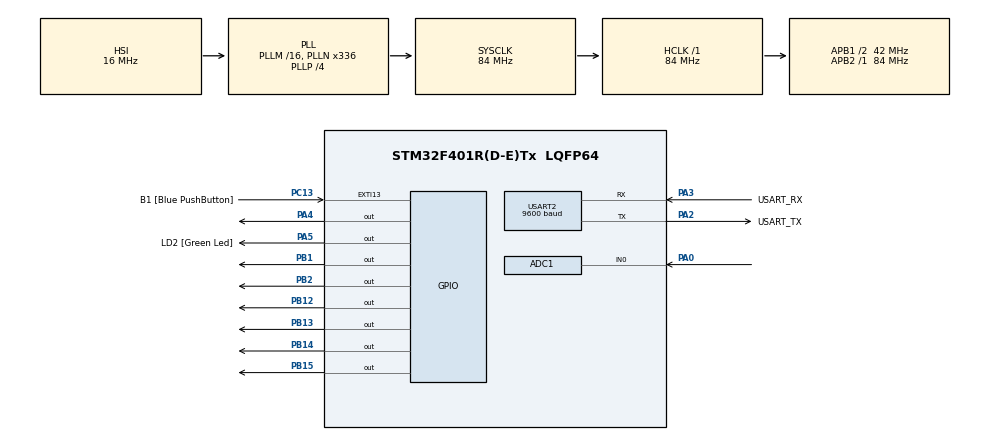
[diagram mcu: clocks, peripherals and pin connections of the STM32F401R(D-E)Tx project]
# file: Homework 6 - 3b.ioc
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ADC1.Channel-0\#ChannelRegularConversion=ADC_CHANNEL_0
ADC1.ContinuousConvMode=DISABLE
ADC1.DMAContinuousRequests=ENABLE
ADC1.ExternalTrigConv=ADC_EXTERNALTRIGCONV_T2_TRGO
ADC1.NbrOfConversionFlag=1
ADC1.Rank-0\#ChannelRegularConversion=1
ADC1.SamplingTime-0\#ChannelRegularConversion=ADC_SAMPLETIME_480CYCLES
ADC1.master=1
Dma.ADC1.0.Direction=DMA_PERIPH_TO_MEMORY
Dma.ADC1.0.FIFOMode=DMA_FIFOMODE_DISABLE
Dma.ADC1.0.Instance=DMA2_Stream0
Dma.ADC1.0.MemDataAlignment=DMA_MDATAALIGN_HALFWORD
Dma.ADC1.0.MemInc=DMA_MINC_ENABLE
Dma.ADC1.0.Mode=DMA_CIRCULAR
Dma.ADC1.0.PeriphDataAlignment=DMA_PDATAALIGN_HALFWORD
Dma.ADC1.0.PeriphInc=DMA_PINC_DISABLE
Dma.ADC1.0.Priority=DMA_PRIORITY_LOW
Dma.Request0=ADC1
Dma.Request1=USART2_TX
Dma.USART2_TX.1.Direction=DMA_MEMORY_TO_PERIPH
Dma.USART2_TX.1.FIFOMode=DMA_FIFOMODE_DISABLE
Dma.USART2_TX.1.Instance=DMA1_Stream6
Dma.USART2_TX.1.MemDataAlignment=DMA_MDATAALIGN_BYTE
Dma.USART2_TX.1.MemInc=DMA_MINC_ENABLE
Dma.USART2_TX.1.Mode=DMA_NORMAL
Dma.USART2_TX.1.PeriphDataAlignment=DMA_PDATAALIGN_BYTE
Dma.USART2_TX.1.PeriphInc=DMA_PINC_DISABLE
Dma.USART2_TX.1.Priority=DMA_PRIORITY_LOW
Mcu.Family=STM32F4
Mcu.Name=STM32F401R(D-E)Tx
Mcu.Package=LQFP64
NVIC.DMA1_Stream6_IRQn=true\:0\:0\:false\:false\:true\:false\:true\:true
NVIC.DMA2_Stream0_IRQn=true\:0\:0\:false\:false\:true\:false\:true\:true
NVIC.PriorityGroup=NVIC_PRIORITYGROUP_4
NVIC.USART2_IRQn=true\:0\:0\:false\:false\:true\:true\:true\:true
PA0-WKUP.Signal=ADCx_IN0
PA13.GPIO_Label=TMS
PA13.Mode=Trace_Asynchronous_SW
PA13.Signal=SYS_JTMS-SWDIO
PA14.GPIO_Label=TCK
PA14.Mode=Trace_Asynchronous_SW
PA14.Signal=SYS_JTCK-SWCLK
PA2.GPIO_Label=USART_TX
PA2.GPIO_Mode=GPIO_MODE_AF_PP
PA2.GPIO_PuPd=GPIO_NOPULL
PA2.GPIO_Speed=GPIO_SPEED_FREQ_LOW
PA2.Mode=Asynchronous
PA2.Signal=USART2_TX
PA3.GPIO_Label=USART_RX
PA3.GPIO_Mode=GPIO_MODE_AF_PP
PA3.GPIO_PuPd=GPIO_NOPULL
PA3.GPIO_Speed=GPIO_SPEED_FREQ_LOW
PA3.Mode=Asynchronous
PA3.Signal=USART2_RX
PA4.Signal=GPIO_Output
PA5.GPIO_Label=LD2 [Green Led]
PA5.GPIO_Mode=GPIO_MODE_OUTPUT_PP
PA5.GPIO_PuPd=GPIO_NOPULL
PA5.GPIO_Speed=GPIO_SPEED_FREQ_LOW
PA5.Signal=GPIO_Output
PB1.Signal=GPIO_Output
PB12.Signal=GPIO_Output
PB13.Signal=GPIO_Output
PB14.Signal=GPIO_Output
PB15.Signal=GPIO_Output
PB2.Signal=GPIO_Output
PB3.GPIO_Label=SWO
PB3.Mode=Trace_Asynchronous_SW
PB3.Signal=SYS_JTDO-SWO
PC13-ANTI_TAMP.GPIO_Label=B1 [Blue PushButton]
PC13-ANTI_TAMP.GPIO_ModeDefaultEXTI=GPIO_MODE_IT_FALLING
PC13-ANTI_TAMP.GPIO_PuPd=GPIO_NOPULL
PC13-ANTI_TAMP.Signal=GPXTI13
PC14-OSC32_IN.Mode=LSE-External-Oscillator
PC14-OSC32_IN.Signal=RCC_OSC32_IN
PC15-OSC32_OUT.Mode=LSE-External-Oscillator
PC15-OSC32_OUT.Signal=RCC_OSC32_OUT
PH0\ -\ OSC_IN.Mode=HSE-External-Clock-Source
PH0\ -\ OSC_IN.Signal=RCC_OSC_IN
PH1\ -\ OSC_OUT.Mode=HSE-External-Clock-Source
PH1\ -\ OSC_OUT.Signal=RCC_OSC_OUT
ProjectManager.HeapSize=0x200
ProjectManager.StackSize=0x400
ProjectManager.TargetToolchain=STM32CubeIDE
RCC.48MHZClocksFreq_Value=48000000
RCC.AHBFreq_Value=84000000
RCC.APB1CLKDivider=RCC_HCLK_DIV2
RCC.APB1Freq_Value=42000000
RCC.APB1TimFreq_Value=84000000
RCC.APB2Freq_Value=84000000
RCC.APB2TimFreq_Value=84000000
RCC.CortexFreq_Value=84000000
RCC.HCLKFreq_Value=84000000
RCC.HSE_VALUE=8000000
RCC.HSI_VALUE=16000000
RCC.PLLN=336
RCC.PLLP=RCC_PLLP_DIV4
RCC.PLLQ=7
RCC.SYSCLKFreq_VALUE=84000000
RCC.SYSCLKSource=RCC_SYSCLKSOURCE_PLLCLK
RCC.VCOOutputFreq_Value=336000000
SH.ADCx_IN0.0=ADC1_IN0,IN0
TIM2.Period=9
TIM2.Prescaler=8399
TIM2.TIM_MasterOutputTrigger=TIM_TRGO_UPDATE
USART2.BaudRate=9600
USART2.VirtualMode=VM_ASYNC
VP_TIM2_VS_ClockSourceINT.Mode=Internal
board=NUCLEO-F401RE

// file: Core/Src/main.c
/* USER CODE BEGIN Header */
/**
  ******************************************************************************
  * @file           : main.c
  * @brief          : Main program body
  ******************************************************************************
  * @attention
  *
  * Copyright (c) 2025 STMicroelectronics.
  * All rights reserved.
  *
  * This software is licensed under terms that can be found in the LICENSE file
  * in the root directory of this software component.
  * If no LICENSE file comes with this software, it is provided AS-IS.
  *
  ******************************************************************************
  */
/* USER CODE END Header */
#include "main.h"

/* USER CODE BEGIN Includes */
#include <math.h>
/* USER CODE END Includes */

/* USER CODE BEGIN PD */
#define SAMPLES 1000
/* USER CODE END PD */

ADC_HandleTypeDef hadc1;
DMA_HandleTypeDef hdma_adc1;

TIM_HandleTypeDef htim2;

UART_HandleTypeDef huart2;
DMA_HandleTypeDef hdma_usart2_tx;

/* USER CODE BEGIN PV */
uint16_t LDR_buffer[SAMPLES];
float average = 0;
int count = 0;
/* USER CODE END PV */

void SystemClock_Config(void);
static void MX_GPIO_Init(void);
static void MX_DMA_Init(void);
static void MX_USART2_UART_Init(void);
static void MX_ADC1_Init(void);
static void MX_TIM2_Init(void);

/* USER CODE BEGIN 0 */
void HAL_ADC_ConvHalfCpltCallback(ADC_HandleTypeDef* hadc) {
    for (int i = 0; i < SAMPLES / 2; i++) {
        float voltage = LDR_buffer[i] * (3.3 / 4095);
        float R_LDR = (voltage * 100)/ (3.3 - voltage);
        average += R_LDR;
        count++;
    }
}

void HAL_ADC_ConvCpltCallback(ADC_HandleTypeDef* hadc) {
    for (int i = SAMPLES / 2; i < SAMPLES; i++) {
        float voltage = LDR_buffer[i] * (3.3 / 4095);
        float R_LDR = (voltage * 100)/ (3.3 - voltage);
        average += R_LDR;
        count++;
    }

    if (count >= SAMPLES) {
        average = average / SAMPLES;
        float lux = 10 * pow((100/average), 1.25);
        static char string[50];
        snprintf(string, sizeof(string), "LDR: %.3f kOhm, %.3f lux \r\n", average, lux);
        HAL_UART_Transmit_DMA(&huart2, string, sizeof(string));
        average = 0;
        count = 0;
    }
}
/* USER CODE END 0 */

int main(void)
{

  /* MCU Configuration--------------------------------------------------------*/

  /* Reset of all peripherals, Initializes the Flash interface and the Systick. */
  HAL_Init();

  /* Configure the system clock */
  SystemClock_Config();

  /* Initialize all configured peripherals */
  MX_GPIO_Init();
  MX_DMA_Init();
  MX_USART2_UART_Init();
  MX_ADC1_Init();
  MX_TIM2_Init();
  /* USER CODE BEGIN 2 */
  HAL_TIM_Base_Start(&htim2);
  HAL_ADC_Start_DMA(&hadc1, &LDR_buffer, SAMPLES);
  /* USER CODE END 2 */

  /* Infinite loop */
  while (1)
  {

  }
}

void SystemClock_Config(void)
{
  RCC_OscInitTypeDef RCC_OscInitStruct = {0};
  RCC_ClkInitTypeDef RCC_ClkInitStruct = {0};

  /** Configure the main internal regulator output voltage
  */
  __HAL_RCC_PWR_CLK_ENABLE();
  __HAL_PWR_VOLTAGESCALING_CONFIG(PWR_REGULATOR_VOLTAGE_SCALE2);

  /** Initializes the RCC Oscillators according to the specified parameters
  * in the RCC_OscInitTypeDef structure.
  */
  RCC_OscInitStruct.OscillatorType = RCC_OSCILLATORTYPE_HSI;
  RCC_OscInitStruct.HSIState = RCC_HSI_ON;
  RCC_OscInitStruct.HSICalibrationValue = RCC_HSICALIBRATION_DEFAULT;
  RCC_OscInitStruct.PLL.PLLState = RCC_PLL_ON;
  RCC_OscInitStruct.PLL.PLLSource = RCC_PLLSOURCE_HSI;
  RCC_OscInitStruct.PLL.PLLM = 16;
  RCC_OscInitStruct.PLL.PLLN = 336;
  RCC_OscInitStruct.PLL.PLLP = RCC_PLLP_DIV4;
  RCC_OscInitStruct.PLL.PLLQ = 7;
  if (HAL_RCC_OscConfig(&RCC_OscInitStruct) != HAL_OK)
  {
    Error_Handler();
  }

  /** Initializes the CPU, AHB and APB buses clocks
  */
  RCC_ClkInitStruct.ClockType = RCC_CLOCKTYPE_HCLK|RCC_CLOCKTYPE_SYSCLK
                              |RCC_CLOCKTYPE_PCLK1|RCC_CLOCKTYPE_PCLK2;
  RCC_ClkInitStruct.SYSCLKSource = RCC_SYSCLKSOURCE_PLLCLK;
  RCC_ClkInitStruct.AHBCLKDivider = RCC_SYSCLK_DIV1;
  RCC_ClkInitStruct.APB1CLKDivider = RCC_HCLK_DIV2;
  RCC_ClkInitStruct.APB2CLKDivider = RCC_HCLK_DIV1;

  if (HAL_RCC_ClockConfig(&RCC_ClkInitStruct, FLASH_LATENCY_2) != HAL_OK)
  {
    Error_Handler();
  }
}

static void MX_ADC1_Init(void)
{

  ADC_ChannelConfTypeDef sConfig = {0};

  /** Configure the global features of the ADC (Clock, Resolution, Data Alignment and number of conversion)
  */
  hadc1.Instance = ADC1;
  hadc1.Init.ClockPrescaler = ADC_CLOCK_SYNC_PCLK_DIV4;
  hadc1.Init.Resolution = ADC_RESOLUTION_12B;
  hadc1.Init.ScanConvMode = DISABLE;
  hadc1.Init.ContinuousConvMode = DISABLE;
  hadc1.Init.DiscontinuousConvMode = DISABLE;
  hadc1.Init.ExternalTrigConvEdge = ADC_EXTERNALTRIGCONVEDGE_RISING;
  hadc1.Init.ExternalTrigConv = ADC_EXTERNALTRIGCONV_T2_TRGO;
  hadc1.Init.DataAlign = ADC_DATAALIGN_RIGHT;
  hadc1.Init.NbrOfConversion = 1;
  hadc1.Init.DMAContinuousRequests = ENABLE;
  hadc1.Init.EOCSelection = ADC_EOC_SINGLE_CONV;
  if (HAL_ADC_Init(&hadc1) != HAL_OK)
  {
    Error_Handler();
  }

  /** Configure for the selected ADC regular channel its corresponding rank in the sequencer and its sample time.
  */
  sConfig.Channel = ADC_CHANNEL_0;
  sConfig.Rank = 1;
  sConfig.SamplingTime = ADC_SAMPLETIME_480CYCLES;
  if (HAL_ADC_ConfigChannel(&hadc1, &sConfig) != HAL_OK)
  {
    Error_Handler();
  }

}

static void MX_TIM2_Init(void)
{

  TIM_ClockConfigTypeDef sClockSourceConfig = {0};
  TIM_MasterConfigTypeDef sMasterConfig = {0};

  htim2.Instance = TIM2;
  htim2.Init.Prescaler = 8399;
  htim2.Init.CounterMode = TIM_COUNTERMODE_UP;
  htim2.Init.Period = 9;
  htim2.Init.ClockDivision = TIM_CLOCKDIVISION_DIV1;
  htim2.Init.AutoReloadPreload = TIM_AUTORELOAD_PRELOAD_DISABLE;
  if (HAL_TIM_Base_Init(&htim2) != HAL_OK)
  {
    Error_Handler();
  }
  sClockSourceConfig.ClockSource = TIM_CLOCKSOURCE_INTERNAL;
  if (HAL_TIM_ConfigClockSource(&htim2, &sClockSourceConfig) != HAL_OK)
  {
    Error_Handler();
  }
  sMasterConfig.MasterOutputTrigger = TIM_TRGO_UPDATE;
  sMasterConfig.MasterSlaveMode = TIM_MASTERSLAVEMODE_DISABLE;
  if (HAL_TIMEx_MasterConfigSynchronization(&htim2, &sMasterConfig) != HAL_OK)
  {
    Error_Handler();
  }

}

static void MX_USART2_UART_Init(void)
{

  huart2.Instance = USART2;
  huart2.Init.BaudRate = 9600;
  huart2.Init.WordLength = UART_WORDLENGTH_8B;
  huart2.Init.StopBits = UART_STOPBITS_1;
  huart2.Init.Parity = UART_PARITY_NONE;
  huart2.Init.Mode = UART_MODE_TX_RX;
  huart2.Init.HwFlowCtl = UART_HWCONTROL_NONE;
  huart2.Init.OverSampling = UART_OVERSAMPLING_16;
  if (HAL_UART_Init(&huart2) != HAL_OK)
  {
    Error_Handler();
  }

}

static void MX_DMA_Init(void)
{

  /* DMA controller clock enable */
  __HAL_RCC_DMA2_CLK_ENABLE();
  __HAL_RCC_DMA1_CLK_ENABLE();

  /* DMA interrupt init */
  /* DMA1_Stream6_IRQn interrupt configuration */
  HAL_NVIC_SetPriority(DMA1_Stream6_IRQn, 0, 0);
  HAL_NVIC_EnableIRQ(DMA1_Stream6_IRQn);
  /* DMA2_Stream0_IRQn interrupt configuration */
  HAL_NVIC_SetPriority(DMA2_Stream0_IRQn, 0, 0);
  HAL_NVIC_EnableIRQ(DMA2_Stream0_IRQn);

}

static void MX_GPIO_Init(void)
{
  GPIO_InitTypeDef GPIO_InitStruct = {0};

  /* GPIO Ports Clock Enable */
  __HAL_RCC_GPIOC_CLK_ENABLE();
  __HAL_RCC_GPIOH_CLK_ENABLE();
  __HAL_RCC_GPIOA_CLK_ENABLE();
  __HAL_RCC_GPIOB_CLK_ENABLE();

  /*Configure GPIO pin Output Level */
  HAL_GPIO_WritePin(GPIOA, GPIO_PIN_4|LD2_Pin, GPIO_PIN_RESET);

  /*Configure GPIO pin Output Level */
  HAL_GPIO_WritePin(GPIOB, GPIO_PIN_1|GPIO_PIN_2|GPIO_PIN_12|GPIO_PIN_13
                          |GPIO_PIN_14|GPIO_PIN_15, GPIO_PIN_RESET);

  /*Configure GPIO pin : B1_Pin */
  GPIO_InitStruct.Pin = B1_Pin;
  GPIO_InitStruct.Mode = GPIO_MODE_IT_FALLING;
  GPIO_InitStruct.Pull = GPIO_NOPULL;
  HAL_GPIO_Init(B1_GPIO_Port, &GPIO_InitStruct);

  /*Configure GPIO pins : PA4 LD2_Pin */
  GPIO_InitStruct.Pin = GPIO_PIN_4|LD2_Pin;
  GPIO_InitStruct.Mode = GPIO_MODE_OUTPUT_PP;
  GPIO_InitStruct.Pull = GPIO_NOPULL;
  GPIO_InitStruct.Speed = GPIO_SPEED_FREQ_LOW;
  HAL_GPIO_Init(GPIOA, &GPIO_InitStruct);

  /*Configure GPIO pins : PB1 PB2 PB12 PB13
                           PB14 PB15 */
  GPIO_InitStruct.Pin = GPIO_PIN_1|GPIO_PIN_2|GPIO_PIN_12|GPIO_PIN_13
                          |GPIO_PIN_14|GPIO_PIN_15;
  GPIO_InitStruct.Mode = GPIO_MODE_OUTPUT_PP;
  GPIO_InitStruct.Pull = GPIO_NOPULL;
  GPIO_InitStruct.Speed = GPIO_SPEED_FREQ_LOW;
  HAL_GPIO_Init(GPIOB, &GPIO_InitStruct);

}

void Error_Handler(void)
{
  __disable_irq();
  while (1)
  {
  }
}
